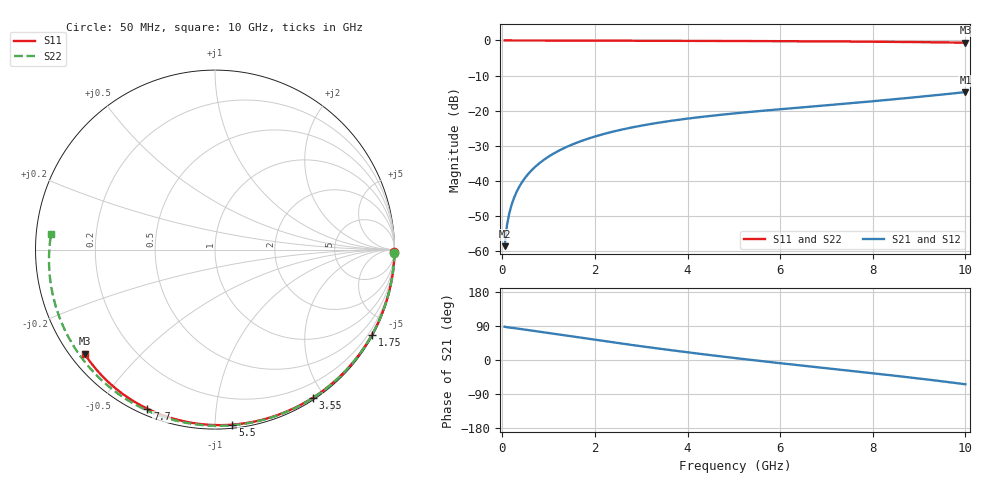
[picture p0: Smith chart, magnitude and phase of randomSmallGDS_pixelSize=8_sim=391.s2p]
! freq	dB(S11)	phase(S11)	dB(S12)	phase(S12)
!  dB(S21)	phase(S21)	dB(S22)	phase(S22)
!S-par simulation data
#  GHz  S  DB  R 50
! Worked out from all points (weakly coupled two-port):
!   200 points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, 50 MHz to 10 GHz, reference 50 ohm
!   highest |S21| = -14.72 dB at 10 GHz (marker M1); lowest = -58.6 dB at 50 MHz (marker M2)
!   lowest |S11| = -0.6 dB at 10 GHz (marker M3), VSWR 27.58, Z = 2.03 - j17.5 ohm
!   |S11| at or under -10 dB: nowhere
!   |S22| runs from -0.7 to 0.0 dB; largest |S21 - S12| = 0
!   S11 on the Smith chart (normalised r, x): 50 MHz: open; 1.75 GHz: 0.04, -3.92; 3.55 GHz: 0.02, -1.86; 5.5 GHz: 0.02, -1.10; 7.7 GHz: 0.03, -0.66; 10 GHz: 0.04, -0.35
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0.05  -0.00 -0.8  -58.61 87.9  -58.61 87.9  -0.00 -1.0
0.1  -0.00 -1.7  -52.73 86.5  -52.73 86.5  -0.00 -2.1
0.15  -0.00 -2.5  -49.31 85.7  -49.31 85.7  -0.00 -3.1
0.2  -0.00 -3.3  -46.87 84.9  -46.87 84.9  -0.00 -4.2
0.25  -0.00 -4.2  -44.96 84.2  -44.96 84.2  -0.00 -5.2
0.35  -0.00 -5.8  -42.08 82.6  -42.08 82.6  -0.01 -7.3
0.5  -0.01 -8.3  -39.02 80.0  -39.02 80.0  -0.01 -10.4
0.7  -0.01 -11.6  -36.13 76.5  -36.13 76.5  -0.02 -14.5
1  -0.02 -16.5  -33.09 71.1  -33.09 71.1  -0.03 -20.6
1.35  -0.03 -22.2  -30.57 64.8  -30.57 64.8  -0.04 -27.7
1.75  -0.04 -28.6  -28.44 57.7  -28.44 57.7  -0.05 -35.8
2.6  -0.07 -42.0  -25.34 43.0  -25.34 43.0  -0.08 -52.4
3.4  -0.09 -54.2  -23.38 29.8  -23.38 29.8  -0.11 -67.6
3.55  -0.10 -56.5  -23.08 27.4  -23.08 27.4  -0.11 -70.4
4.3  -0.12 -67.5  -21.78 15.8  -21.78 15.8  -0.15 -84.0
5.05  -0.15 -78.1  -20.74 4.8  -20.74 4.8  -0.18 -97.3
5.5  -0.17 -84.3  -20.18 -1.6  -20.18 -1.6  -0.21 -105.1
6.7  -0.24 -100.3  -18.81 -17.8  -18.81 -17.8  -0.30 -125.5
7.7  -0.33 -113.0  -17.67 -31.0  -17.67 -31.0  -0.39 -142.6
8.35  -0.39 -121.1  -16.89 -39.7  -16.89 -39.7  -0.47 -154.0
9.2  -0.50 -131.6  -15.81 -51.8  -15.81 -51.8  -0.60 -169.7
10  -0.63 -141.4  -14.72 -64.1  -14.72 -64.1  -0.75 174.4
